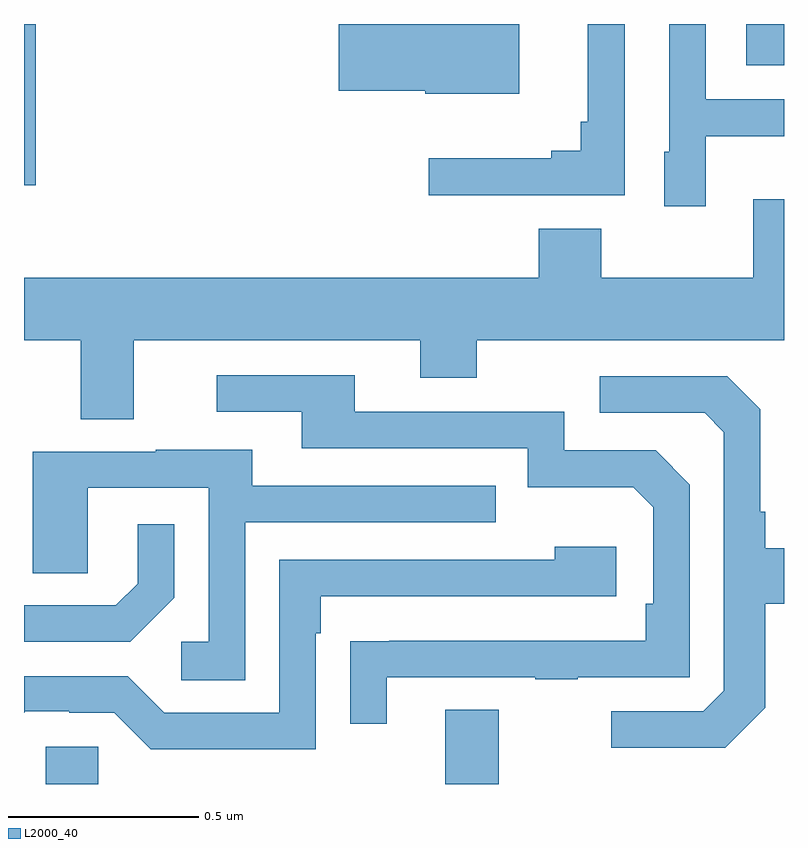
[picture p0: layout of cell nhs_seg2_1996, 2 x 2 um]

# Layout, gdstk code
import gdstk
lib = gdstk.Library(unit=1e-6, precision=1e-09)
def R(c, l, rs):  # rectangles x0, y0, x1, y1
    for r in rs: c.add(gdstk.rectangle(r[:2], r[2:], *l))
def P(c, l, *ps):  # polygons
    for p in ps: c.add(gdstk.Polygon(p, *l))
L2000_40 = (2000, 40)

nhs_seg2_1996 = lib.new_cell('nhs_seg2_1996')
R(nhs_seg2_1996, L2000_40, [(135.057,647.8,135.195,647.898), (136.109,647.8,136.249,647.995), (135,649.376,135.031,649.8), (136.901,649.691,137,649.8)])
P(nhs_seg2_1996, L2000_40, [(136.794,649.505),(137,649.505),(137,649.602),(136.794,649.602),(136.794,649.8),(136.698,649.8),(136.698,649.464),(136.685,649.464),(136.685,649.32),(136.794,649.32)],
  [(136.303,649.8),(135.828,649.8),(135.828,649.625),(136.056,649.625),(136.056,649.616),(136.303,649.616)],
  [(136.581,649.8),(136.484,649.8),(136.484,649.543),(136.465,649.543),(136.465,649.466),(136.388,649.466),(136.388,649.447),(136.065,649.447),(136.065,649.35),(136.581,649.35)],
  [(135.289,648.968),(136.043,648.968),(136.043,648.869),(136.191,648.869),(136.191,648.968),(137,648.968),(137,649.339),(136.919,649.339),(136.919,649.132),(136.519,649.132),(136.519,649.261),(136.355,649.261),(136.355,649.132),(135,649.132),(135,648.968),(135.149,648.968),(135.149,648.76),(135.289,648.76)],
  [(135.955,648.081),(136.345,648.081),(136.345,648.076),(136.457,648.076),(136.457,648.081),(136.752,648.081),(136.752,648.588),(136.662,648.678),(136.422,648.678),(136.422,648.78),(135.871,648.78),(135.871,648.876),(135.507,648.876),(135.507,648.78),(135.731,648.78),(135.731,648.684),(136.326,648.684),(136.326,648.581),(136.603,648.581),(136.656,648.528),(136.656,648.274),(136.636,648.274),(136.636,648.177),(135.961,648.177),(135.961,648.176),(135.859,648.176),(135.859,647.958),(135.955,647.958)],
  [(136.951,648.001),(136.951,648.274),(137,648.274),(137,648.421),(136.951,648.421),(136.951,648.517),(136.938,648.517),(136.938,648.786),(136.851,648.873),(136.515,648.873),(136.515,648.777),(136.791,648.777),(136.842,648.726),(136.842,648.045),(136.788,647.991),(136.545,647.991),(136.545,647.895),(136.845,647.895)],
  [(135.582,648.489),(136.241,648.489),(136.241,648.585),(135.601,648.585),(135.601,648.679),(135.347,648.679),(135.347,648.675),(135.023,648.675),(135.023,648.355),(135.168,648.355),(135.168,648.579),(135.486,648.579),(135.486,648.174),(135.414,648.174),(135.414,648.073),(135.582,648.073)],
  [(135.396,648.29),(135.396,648.484),(135.299,648.484),(135.299,648.327),(135.242,648.27),(135,648.27),(135,648.174),(135.28,648.174)],
  [(135.768,648.197),(135.781,648.197),(135.781,648.294),(136.558,648.294),(136.558,648.424),(136.397,648.424),(136.397,648.39),(135.672,648.39),(135.672,647.988),(135.369,647.988),(135.273,648.084),(135,648.084),(135,647.988),(135.003,647.991),(135.119,647.991),(135.119,647.988),(135.237,647.988),(135.333,647.892),(135.768,647.892)])

lib.write_gds('nhs_seg2_1996.gds')
